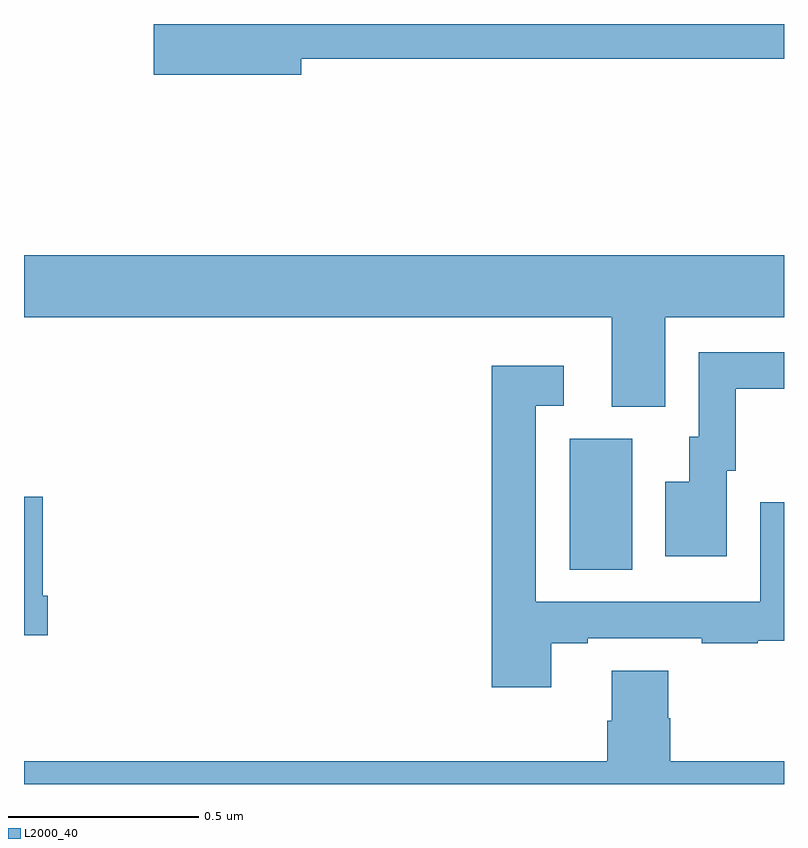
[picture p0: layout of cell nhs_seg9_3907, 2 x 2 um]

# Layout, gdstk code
import gdstk
lib = gdstk.Library(unit=1e-6, precision=1e-09)
def R(c, l, rs):  # rectangles x0, y0, x1, y1
    for r in rs: c.add(gdstk.rectangle(r[:2], r[2:], *l))
def P(c, l, *ps):  # polygons
    for p in ps: c.add(gdstk.Polygon(p, *l))
L2000_40 = (2000, 40)

nhs_seg9_3907 = lib.new_cell('nhs_seg9_3907')
R(nhs_seg9_3907, L2000_40, [(160.436,1221.064,160.6,1221.408)])
P(nhs_seg9_3907, L2000_40, [(159.73,1222.408),(161,1222.408),(161,1222.5),(159.342,1222.5),(159.342,1222.366),(159.73,1222.366)],
  [(160.687,1221.728),(161,1221.728),(161,1221.892),(159,1221.892),(159,1221.728),(160.547,1221.728),(160.547,1221.493),(160.687,1221.493)],
  [(160.849,1221.324),(160.873,1221.324),(160.873,1221.54),(161,1221.54),(161,1221.636),(160.776,1221.636),(160.776,1221.414),(160.751,1221.414),(160.751,1221.295),(160.688,1221.295),(160.688,1221.099),(160.849,1221.099)],
  [(160.387,1220.871),(160.483,1220.871),(160.483,1220.883),(160.783,1220.883),(160.783,1220.871),(160.931,1220.871),(160.931,1220.877),(161,1220.877),(161,1221.241),(160.938,1221.241),(160.938,1220.979),(160.347,1220.979),(160.347,1221.495),(160.42,1221.495),(160.42,1221.601),(160.231,1221.601),(160.231,1220.754),(160.387,1220.754)],
  [(159.062,1220.995),(159.049,1220.995),(159.049,1221.256),(159,1221.256),(159,1220.891),(159.062,1220.891)],
  [(161,1220.56),(160.7,1220.56),(160.7,1220.673),(160.695,1220.673),(160.695,1220.798),(160.547,1220.798),(160.547,1220.666),(160.535,1220.666),(160.535,1220.56),(159,1220.56),(159,1220.5),(161,1220.5)])

lib.write_gds('nhs_seg9_3907.gds')
